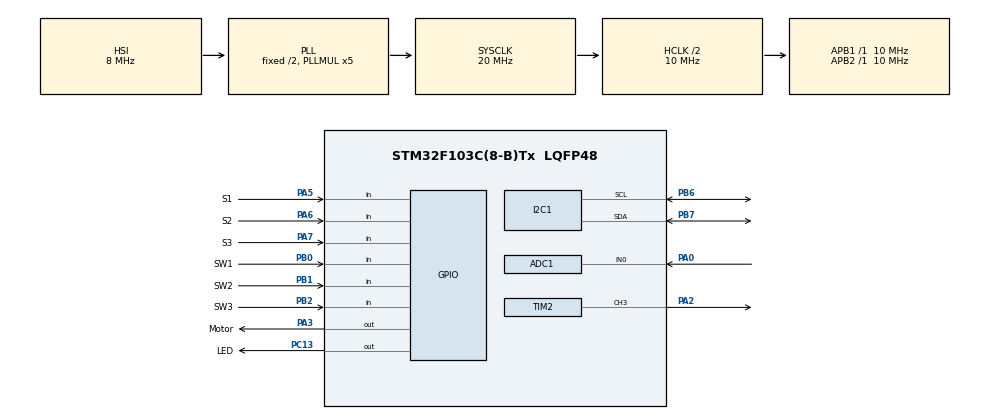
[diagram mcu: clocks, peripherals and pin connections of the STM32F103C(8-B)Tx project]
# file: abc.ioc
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ADC1.Channel-0\#ChannelRegularConversion=ADC_CHANNEL_0
ADC1.NbrOfConversionFlag=1
ADC1.Rank-0\#ChannelRegularConversion=1
ADC1.SamplingTime-0\#ChannelRegularConversion=ADC_SAMPLETIME_1CYCLE_5
ADC1.master=1
Dma.ADC1.0.Direction=DMA_PERIPH_TO_MEMORY
Dma.ADC1.0.Instance=DMA1_Channel1
Dma.ADC1.0.MemDataAlignment=DMA_MDATAALIGN_HALFWORD
Dma.ADC1.0.MemInc=DMA_MINC_ENABLE
Dma.ADC1.0.Mode=DMA_CIRCULAR
Dma.ADC1.0.PeriphDataAlignment=DMA_PDATAALIGN_HALFWORD
Dma.ADC1.0.PeriphInc=DMA_PINC_DISABLE
Dma.ADC1.0.Priority=DMA_PRIORITY_LOW
Dma.Request0=ADC1
Mcu.Family=STM32F1
Mcu.Name=STM32F103C(8-B)Tx
Mcu.Package=LQFP48
NVIC.DMA1_Channel1_IRQn=true\:0\:0\:false\:false\:true\:false\:true\:true
NVIC.I2C1_EV_IRQn=true\:0\:0\:false\:false\:true\:true\:true\:true
NVIC.PriorityGroup=NVIC_PRIORITYGROUP_4
PA0-WKUP.Signal=ADCx_IN0
PA13.Mode=Serial_Wire
PA13.Signal=SYS_JTMS-SWDIO
PA14.Mode=Serial_Wire
PA14.Signal=SYS_JTCK-SWCLK
PA2.Signal=S_TIM2_CH3
PA3.GPIO_Label=Motor
PA3.Signal=GPIO_Output
PA5.GPIO_Label=S1
PA5.GPIO_PuPd=GPIO_PULLUP
PA5.Signal=GPIO_Input
PA6.GPIO_Label=S2
PA6.GPIO_PuPd=GPIO_PULLUP
PA6.Signal=GPIO_Input
PA7.GPIO_Label=S3
PA7.GPIO_PuPd=GPIO_PULLUP
PA7.Signal=GPIO_Input
PB0.GPIO_Label=SW1
PB0.GPIO_PuPd=GPIO_PULLUP
PB0.Signal=GPIO_Input
PB1.GPIO_Label=SW2
PB1.GPIO_PuPd=GPIO_PULLUP
PB1.Signal=GPIO_Input
PB2.GPIO_Label=SW3
PB2.GPIO_PuPd=GPIO_PULLUP
PB2.Signal=GPIO_Input
PB6.Mode=I2C
PB6.Signal=I2C1_SCL
PB7.Mode=I2C
PB7.Signal=I2C1_SDA
PC13-TAMPER-RTC.GPIO_Label=LED
PC13-TAMPER-RTC.Signal=GPIO_Output
PD0-OSC_IN.Mode=HSE-External-Oscillator
PD0-OSC_IN.Signal=RCC_OSC_IN
PD1-OSC_OUT.Mode=HSE-External-Oscillator
PD1-OSC_OUT.Signal=RCC_OSC_OUT
ProjectManager.HeapSize=0x200
ProjectManager.StackSize=0x400
ProjectManager.TargetToolchain=MDK-ARM V5
RCC.AHBCLKDivider=RCC_SYSCLK_DIV2
RCC.AHBFreq_Value=10000000
RCC.APB1Freq_Value=10000000
RCC.APB1TimFreq_Value=10000000
RCC.APB2Freq_Value=10000000
RCC.APB2TimFreq_Value=10000000
RCC.HCLKFreq_Value=10000000
RCC.PLLMUL=RCC_PLL_MUL5
RCC.SYSCLKFreq_VALUE=20000000
RCC.SYSCLKSource=RCC_SYSCLKSOURCE_PLLCLK
RCC.USBFreq_Value=20000000
SH.ADCx_IN0.0=ADC1_IN0,IN0
SH.S_TIM2_CH3.0=TIM2_CH3,PWM Generation3 CH3
TIM2.Channel-PWM\ Generation3\ CH3=TIM_CHANNEL_3
TIM2.Period=20
TIM2.Prescaler=8000
TIM2.Pulse-PWM\ Generation3\ CH3=2
VP_TIM2_VS_ClockSourceINT.Mode=Internal
board=custom

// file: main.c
/* USER CODE BEGIN Header */
/**
  ******************************************************************************
  * @file           : main.c
  * @brief          : Main program body
  ******************************************************************************
  * @attention
  *
  * Copyright (c) 2023 STMicroelectronics.
  * All rights reserved.
  *
  * This software is licensed under terms that can be found in the LICENSE file
  * in the root directory of this software component.
  * If no LICENSE file comes with this software, it is provided AS-IS.
  *
  ******************************************************************************
  */
/* USER CODE END Header */
#include "main.h"

/* USER CODE BEGIN Includes */
#include "stdio.h"
#include "CLCD_I2C.h"
/* USER CODE END Includes */

ADC_HandleTypeDef hadc1;
DMA_HandleTypeDef hdma_adc1;

I2C_HandleTypeDef hi2c1;

TIM_HandleTypeDef htim2;

/* USER CODE BEGIN PV */
uint16_t adcval[1];
float val;
int16_t time= 1, AD = 500;
char LCD_send[16];
unsigned int tstate=0 ;
CLCD_I2C_Name LCD1;
/* USER CODE END PV */

void SystemClock_Config(void);
static void MX_GPIO_Init(void);
static void MX_DMA_Init(void);
static void MX_TIM2_Init(void);
static void MX_I2C1_Init(void);
static void MX_ADC1_Init(void);

/* USER CODE BEGIN 0 */
void writeLCD(void)
{
	HAL_ADC_Start_DMA(&hadc1,(uint32_t*)adcval,1);
		val = (float)adcval[0]/4095.0*4985/3.8;
	if ( val < AD  ) HAL_GPIO_WritePin(Motor_GPIO_Port,Motor_Pin,GPIO_PIN_SET);
		 else HAL_GPIO_WritePin(Motor_GPIO_Port,Motor_Pin,GPIO_PIN_RESET);
	  CLCD_I2C_SetCursor(&LCD1, 0, 0);
	  sprintf(LCD_send, "Do Duc:%3d/%3d", (int)val,AD);
		CLCD_I2C_WriteString(&LCD1, LCD_send);
	  CLCD_I2C_SetCursor(&LCD1, 0, 1);
	  sprintf(LCD_send, "Feedtime: %2d %d", time,tstate);
	  CLCD_I2C_WriteString(&LCD1, LCD_send);

}
/* USER CODE END 0 */

int main(void)
{

  /* MCU Configuration--------------------------------------------------------*/

  /* Reset of all peripherals, Initializes the Flash interface and the Systick. */
  HAL_Init();

  /* Configure the system clock */
  SystemClock_Config();

  /* USER CODE BEGIN SysInit */
//int i;
  /* USER CODE END SysInit */

  /* Initialize all configured peripherals */
  MX_GPIO_Init();
  MX_DMA_Init();
  MX_TIM2_Init();
  MX_I2C1_Init();
  MX_ADC1_Init();
  /* USER CODE BEGIN 2 */
//HAL_TIM_PWM_Start(&htim2, TIM_CHANNEL_3);
  /* USER CODE END 2 */

  /* Infinite loop */
  /* USER CODE BEGIN WHILE */
CLCD_I2C_Init(&LCD1,&hi2c1,0x4E,16,2);

  while (1)
  {
		 if (HAL_GPIO_ReadPin(S1_GPIO_Port,S1_Pin)== 0)
					 {
						 HAL_Delay(400);
						 if (HAL_GPIO_ReadPin(S1_GPIO_Port,S1_Pin)==0)
						 {  tstate = !tstate; }
				 }
		 //tstate= 0;
			switch  ( tstate ) {
				case 1:
				{
					 if (HAL_GPIO_ReadPin(S2_GPIO_Port,S2_Pin)== 0)
					 {
						 HAL_Delay(200);
						 if (HAL_GPIO_ReadPin(S2_GPIO_Port,S2_Pin)==0) { time++;
							                                                 if ( time == 13 ) time = 1; }

					 }
					 if (HAL_GPIO_ReadPin(S3_GPIO_Port,S3_Pin)==0)
					 {
						 HAL_Delay(200);
						 if (HAL_GPIO_ReadPin(S3_GPIO_Port,S3_Pin)==0) { time--;
							                                                 if ( time == 0 ) time = 12; }
					 }break;
				 }

				case 0:
					 {
					 if (HAL_GPIO_ReadPin(S2_GPIO_Port,S2_Pin)== 0)
					 {
						 HAL_Delay(100);
						 if (HAL_GPIO_ReadPin(S2_GPIO_Port,S2_Pin)==0) { AD =AD + 10;
							                                               if ( AD == 1000 ) AD = 10; }

					 }
					 if (HAL_GPIO_ReadPin(S3_GPIO_Port,S3_Pin)==0)
					 {
						 HAL_Delay(100);
						 if (HAL_GPIO_ReadPin(S3_GPIO_Port,S3_Pin)==0) { AD =AD-10;
							                                                 if ( AD == 0 ) AD = 1000; }
					 }
				 }
					 break;
				 default : break; }
		HAL_Delay(100);
			writeLCD();
    /* USER CODE END WHILE */

  }
}

void SystemClock_Config(void)
{
  RCC_OscInitTypeDef RCC_OscInitStruct = {0};
  RCC_ClkInitTypeDef RCC_ClkInitStruct = {0};
  RCC_PeriphCLKInitTypeDef PeriphClkInit = {0};

  /** Initializes the RCC Oscillators according to the specified parameters
  * in the RCC_OscInitTypeDef structure.
  */
  RCC_OscInitStruct.OscillatorType = RCC_OSCILLATORTYPE_HSI;
  RCC_OscInitStruct.HSIState = RCC_HSI_ON;
  RCC_OscInitStruct.HSICalibrationValue = RCC_HSICALIBRATION_DEFAULT;
  RCC_OscInitStruct.PLL.PLLState = RCC_PLL_ON;
  RCC_OscInitStruct.PLL.PLLSource = RCC_PLLSOURCE_HSI_DIV2;
  RCC_OscInitStruct.PLL.PLLMUL = RCC_PLL_MUL5;
  if (HAL_RCC_OscConfig(&RCC_OscInitStruct) != HAL_OK)
  {
    Error_Handler();
  }

  /** Initializes the CPU, AHB and APB buses clocks
  */
  RCC_ClkInitStruct.ClockType = RCC_CLOCKTYPE_HCLK|RCC_CLOCKTYPE_SYSCLK
                              |RCC_CLOCKTYPE_PCLK1|RCC_CLOCKTYPE_PCLK2;
  RCC_ClkInitStruct.SYSCLKSource = RCC_SYSCLKSOURCE_PLLCLK;
  RCC_ClkInitStruct.AHBCLKDivider = RCC_SYSCLK_DIV2;
  RCC_ClkInitStruct.APB1CLKDivider = RCC_HCLK_DIV1;
  RCC_ClkInitStruct.APB2CLKDivider = RCC_HCLK_DIV1;

  if (HAL_RCC_ClockConfig(&RCC_ClkInitStruct, FLASH_LATENCY_0) != HAL_OK)
  {
    Error_Handler();
  }
  PeriphClkInit.PeriphClockSelection = RCC_PERIPHCLK_ADC;
  PeriphClkInit.AdcClockSelection = RCC_ADCPCLK2_DIV2;
  if (HAL_RCCEx_PeriphCLKConfig(&PeriphClkInit) != HAL_OK)
  {
    Error_Handler();
  }
}

static void MX_ADC1_Init(void)
{

  ADC_ChannelConfTypeDef sConfig = {0};

  /** Common config
  */
  hadc1.Instance = ADC1;
  hadc1.Init.ScanConvMode = ADC_SCAN_DISABLE;
  hadc1.Init.ContinuousConvMode = DISABLE;
  hadc1.Init.DiscontinuousConvMode = DISABLE;
  hadc1.Init.ExternalTrigConv = ADC_SOFTWARE_START;
  hadc1.Init.DataAlign = ADC_DATAALIGN_RIGHT;
  hadc1.Init.NbrOfConversion = 1;
  if (HAL_ADC_Init(&hadc1) != HAL_OK)
  {
    Error_Handler();
  }

  /** Configure Regular Channel
  */
  sConfig.Channel = ADC_CHANNEL_0;
  sConfig.Rank = ADC_REGULAR_RANK_1;
  sConfig.SamplingTime = ADC_SAMPLETIME_1CYCLE_5;
  if (HAL_ADC_ConfigChannel(&hadc1, &sConfig) != HAL_OK)
  {
    Error_Handler();
  }

}

static void MX_I2C1_Init(void)
{

  hi2c1.Instance = I2C1;
  hi2c1.Init.ClockSpeed = 100000;
  hi2c1.Init.DutyCycle = I2C_DUTYCYCLE_2;
  hi2c1.Init.OwnAddress1 = 0;
  hi2c1.Init.AddressingMode = I2C_ADDRESSINGMODE_7BIT;
  hi2c1.Init.DualAddressMode = I2C_DUALADDRESS_DISABLE;
  hi2c1.Init.OwnAddress2 = 0;
  hi2c1.Init.GeneralCallMode = I2C_GENERALCALL_DISABLE;
  hi2c1.Init.NoStretchMode = I2C_NOSTRETCH_DISABLE;
  if (HAL_I2C_Init(&hi2c1) != HAL_OK)
  {
    Error_Handler();
  }

}

static void MX_TIM2_Init(void)
{

  TIM_ClockConfigTypeDef sClockSourceConfig = {0};
  TIM_MasterConfigTypeDef sMasterConfig = {0};
  TIM_OC_InitTypeDef sConfigOC = {0};

  htim2.Instance = TIM2;
  htim2.Init.Prescaler = 8000;
  htim2.Init.CounterMode = TIM_COUNTERMODE_UP;
  htim2.Init.Period = 20;
  htim2.Init.ClockDivision = TIM_CLOCKDIVISION_DIV1;
  htim2.Init.AutoReloadPreload = TIM_AUTORELOAD_PRELOAD_DISABLE;
  if (HAL_TIM_Base_Init(&htim2) != HAL_OK)
  {
    Error_Handler();
  }
  sClockSourceConfig.ClockSource = TIM_CLOCKSOURCE_INTERNAL;
  if (HAL_TIM_ConfigClockSource(&htim2, &sClockSourceConfig) != HAL_OK)
  {
    Error_Handler();
  }
  if (HAL_TIM_PWM_Init(&htim2) != HAL_OK)
  {
    Error_Handler();
  }
  sMasterConfig.MasterOutputTrigger = TIM_TRGO_RESET;
  sMasterConfig.MasterSlaveMode = TIM_MASTERSLAVEMODE_DISABLE;
  if (HAL_TIMEx_MasterConfigSynchronization(&htim2, &sMasterConfig) != HAL_OK)
  {
    Error_Handler();
  }
  sConfigOC.OCMode = TIM_OCMODE_PWM1;
  sConfigOC.Pulse = 2;
  sConfigOC.OCPolarity = TIM_OCPOLARITY_HIGH;
  sConfigOC.OCFastMode = TIM_OCFAST_DISABLE;
  if (HAL_TIM_PWM_ConfigChannel(&htim2, &sConfigOC, TIM_CHANNEL_3) != HAL_OK)
  {
    Error_Handler();
  }
  HAL_TIM_MspPostInit(&htim2);

}

static void MX_DMA_Init(void)
{

  /* DMA controller clock enable */
  __HAL_RCC_DMA1_CLK_ENABLE();

  /* DMA interrupt init */
  /* DMA1_Channel1_IRQn interrupt configuration */
  HAL_NVIC_SetPriority(DMA1_Channel1_IRQn, 0, 0);
  HAL_NVIC_EnableIRQ(DMA1_Channel1_IRQn);

}

static void MX_GPIO_Init(void)
{
  GPIO_InitTypeDef GPIO_InitStruct = {0};

  /* GPIO Ports Clock Enable */
  __HAL_RCC_GPIOC_CLK_ENABLE();
  __HAL_RCC_GPIOD_CLK_ENABLE();
  __HAL_RCC_GPIOA_CLK_ENABLE();
  __HAL_RCC_GPIOB_CLK_ENABLE();

  /*Configure GPIO pin Output Level */
  HAL_GPIO_WritePin(LED_GPIO_Port, LED_Pin, GPIO_PIN_RESET);

  /*Configure GPIO pin Output Level */
  HAL_GPIO_WritePin(Motor_GPIO_Port, Motor_Pin, GPIO_PIN_RESET);

  /*Configure GPIO pin : LED_Pin */
  GPIO_InitStruct.Pin = LED_Pin;
  GPIO_InitStruct.Mode = GPIO_MODE_OUTPUT_PP;
  GPIO_InitStruct.Pull = GPIO_NOPULL;
  GPIO_InitStruct.Speed = GPIO_SPEED_FREQ_LOW;
  HAL_GPIO_Init(LED_GPIO_Port, &GPIO_InitStruct);

  /*Configure GPIO pin : Motor_Pin */
  GPIO_InitStruct.Pin = Motor_Pin;
  GPIO_InitStruct.Mode = GPIO_MODE_OUTPUT_PP;
  GPIO_InitStruct.Pull = GPIO_NOPULL;
  GPIO_InitStruct.Speed = GPIO_SPEED_FREQ_LOW;
  HAL_GPIO_Init(Motor_GPIO_Port, &GPIO_InitStruct);

  /*Configure GPIO pins : S1_Pin S2_Pin S3_Pin */
  GPIO_InitStruct.Pin = S1_Pin|S2_Pin|S3_Pin;
  GPIO_InitStruct.Mode = GPIO_MODE_INPUT;
  GPIO_InitStruct.Pull = GPIO_PULLUP;
  HAL_GPIO_Init(GPIOA, &GPIO_InitStruct);

  /*Configure GPIO pins : SW1_Pin SW2_Pin SW3_Pin */
  GPIO_InitStruct.Pin = SW1_Pin|SW2_Pin|SW3_Pin;
  GPIO_InitStruct.Mode = GPIO_MODE_INPUT;
  GPIO_InitStruct.Pull = GPIO_PULLUP;
  HAL_GPIO_Init(GPIOB, &GPIO_InitStruct);

}

void Error_Handler(void)
{
  __disable_irq();
  while (1)
  {
  }
}
